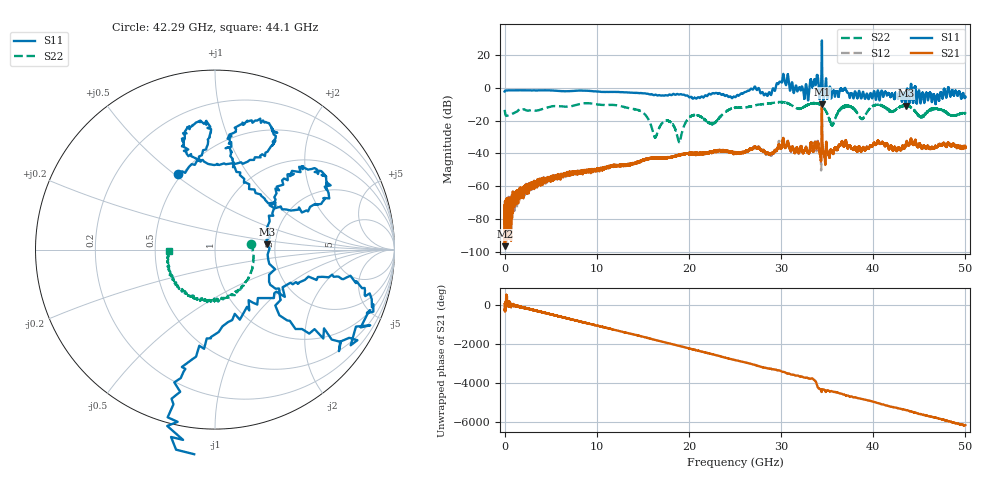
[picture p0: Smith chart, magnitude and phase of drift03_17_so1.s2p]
!Created with skrf (http://scikit-rf.org).
# Hz S RI R 50.0
!freq ReS11 ImS11 ReS21 ImS21 ReS12 ImS12 ReS22 ImS22
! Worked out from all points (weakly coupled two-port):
!   10000 points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, 5.3 MHz to 50 GHz, reference 50 ohm
!   highest |S21| = -9.96 dB at 34.43 GHz (marker M1); lowest = -96.7 dB at 25.3 MHz (marker M2)
!   lowest |S11| = -10.7 dB at 43.52 GHz (marker M3), VSWR 1.82, Z = 90.4 + j5.67 ohm
!   |S11| at or under -10 dB: 43.49572 GHz to 43.50451 GHz (8.788 MHz wide, 0.0202 % of centre); 43.50603 GHz to 43.54054 GHz (34.5 MHz wide, 0.0793 % of centre)
!   |S22| runs from -33.2 to -8.5 dB; largest |S21 - S12| = 0.11
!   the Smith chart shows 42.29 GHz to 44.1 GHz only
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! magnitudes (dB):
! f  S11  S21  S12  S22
! 5.3 MHz  -2.1  -83.2  -83.6  -13.3
! 25.3 MHz  -1.9  -96.7  -72.9  -13.9
! 2.34 GHz  -1.4  -63.1  -60.8  -13.6
! 8.34 GHz  -1.5  -51.0  -51.0  -9.5
! 14.52 GHz  -3.1  -45.2  -45.4  -13.5
! 16.67 GHz  -4.4  -42.9  -42.6  -25.9
! 17.82 GHz  -4.1  -42.3  -42.4  -20.1
! 18.97 GHz  -3.9  -41.1  -41.0  -33.1
! 20.27 GHz  -5.5  -40.0  -40.0  -17.2
! 22.58 GHz  -3.1  -39.1  -39.3  -21.8
! 25.01 GHz  -5.5  -39.5  -39.5  -12.1
! 28.72 GHz  -2.5  -40.8  -40.4  -9.3
! 30.14 GHz  4.4  -33.8  -34.1  -8.5
! 32.74 GHz  2.0  -36.8  -36.4  -10.6
! 33.34 GHz  2.5  -34.9  -35.3  -9.4
! 34.43 GHz  29.2  -10.0  -12.1  -10.9
! 35.54 GHz  -3.1  -39.1  -39.0  -23.0
! 36.99 GHz  -0.2  -32.4  -32.5  -11.3
! 38.76 GHz  -5.7  -38.1  -38.3  -18.9
! 41.67 GHz  -3.1  -36.9  -37.0  -13.5
! 43.52 GHz  -10.7  -34.9  -34.9  -10.8
! 50 GHz  -5.3  -36.3  -36.1  -15.6
